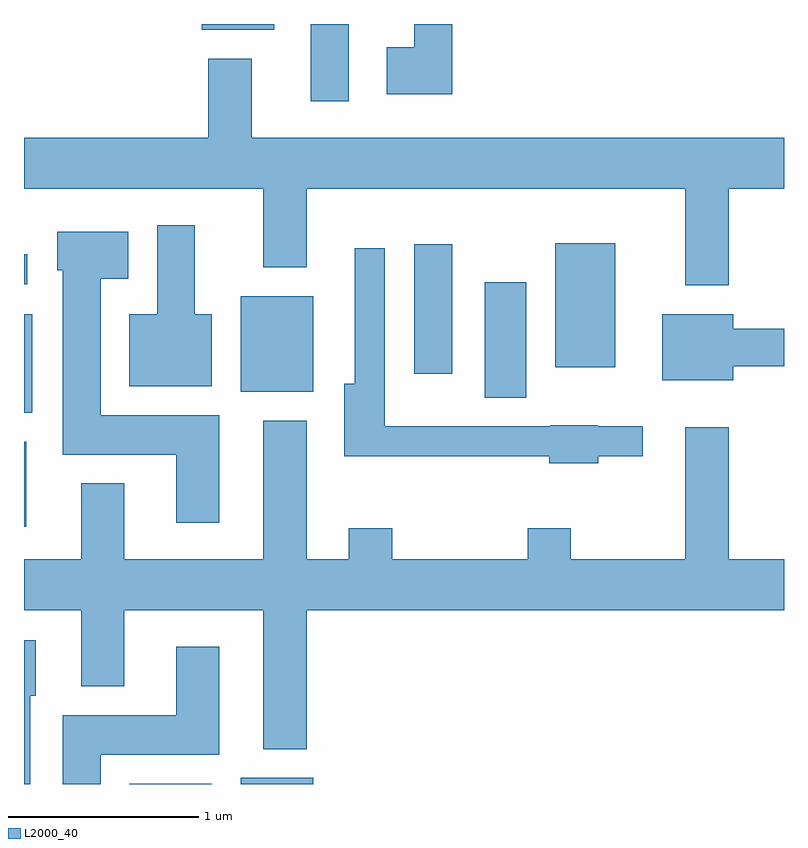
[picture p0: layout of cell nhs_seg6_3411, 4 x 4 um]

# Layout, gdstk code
import gdstk
lib = gdstk.Library(unit=1e-6, precision=1e-09)
def R(c, l, rs):  # rectangles x0, y0, x1, y1
    for r in rs: c.add(gdstk.rectangle(r[:2], r[2:], *l))
def P(c, l, *ps):  # polygons
    for p in ps: c.add(gdstk.Polygon(p, *l))
L2000_40 = (2000, 40)

nhs_seg6_3411 = lib.new_cell('nhs_seg6_3411')
R(nhs_seg6_3411, L2000_40, [(288.166,1620.162,288.599,1620.164), (288.751,1620.162,289.134,1620.194), (287.611,1621.516,287.624,1621.964), (287.611,1622.116,287.654,1622.634), (290.036,1622.196,290.254,1622.804), (288.751,1622.226,289.134,1622.729), (289.666,1622.321,289.864,1623.004), (290.406,1622.356,290.724,1623.009), (287.611,1622.791,287.628,1622.949), (289.121,1623.756,289.319,1624.162), (288.546,1624.131,288.929,1624.162)])
P(nhs_seg6_3411, L2000_40, [(289.864,1624.162),(289.666,1624.162),(289.666,1624.039),(289.521,1624.039),(289.521,1623.791),(289.864,1623.791)],
  [(291.319,1623.296),(291.611,1623.296),(291.611,1623.564),(288.809,1623.564),(288.809,1623.979),(288.581,1623.979),(288.581,1623.564),(287.611,1623.564),(287.611,1623.296),(288.871,1623.296),(288.871,1622.881),(289.099,1622.881),(289.099,1623.296),(291.091,1623.296),(291.091,1622.786),(291.319,1622.786)],
  [(288.599,1622.634),(288.509,1622.634),(288.509,1623.104),(288.311,1623.104),(288.311,1622.634),(288.166,1622.634),(288.166,1622.256),(288.599,1622.256)],
  [(288.639,1622.104),(288.014,1622.104),(288.014,1622.821),(288.159,1622.821),(288.159,1623.069),(287.786,1623.069),(287.786,1622.866),(287.816,1622.866),(287.816,1621.896),(288.411,1621.896),(288.411,1621.536),(288.639,1621.536)],
  [(290.634,1621.886),(290.868,1621.886),(290.868,1622.044),(290.63,1622.044),(290.63,1622.049),(290.38,1622.049),(290.38,1622.044),(289.509,1622.044),(289.509,1622.983),(289.351,1622.983),(289.351,1622.269),(289.296,1622.269),(289.296,1621.886),(290.376,1621.886),(290.376,1621.851),(290.634,1621.851)],
  [(291.344,1622.361),(291.611,1622.361),(291.611,1622.559),(291.344,1622.559),(291.344,1622.634),(290.971,1622.634),(290.971,1622.286),(291.344,1622.286)],
  [(289.099,1621.076),(291.611,1621.076),(291.611,1621.344),(291.319,1621.344),(291.319,1622.039),(291.091,1622.039),(291.091,1621.344),(290.489,1621.344),(290.489,1621.509),(290.261,1621.509),(290.261,1621.344),(289.549,1621.344),(289.549,1621.509),(289.321,1621.509),(289.321,1621.344),(289.099,1621.344),(289.099,1622.074),(288.871,1622.074),(288.871,1621.344),(288.139,1621.344),(288.139,1621.744),(287.911,1621.744),(287.911,1621.344),(287.611,1621.344),(287.611,1621.076),(287.911,1621.076),(287.911,1620.676),(288.139,1620.676),(288.139,1621.076),(288.871,1621.076),(288.871,1620.346),(289.099,1620.346)],
  [(287.644,1620.626),(287.674,1620.626),(287.674,1620.919),(287.611,1620.919),(287.611,1620.162),(287.644,1620.162)],
  [(288.014,1620.316),(288.639,1620.316),(288.639,1620.884),(288.411,1620.884),(288.411,1620.524),(287.816,1620.524),(287.816,1620.162),(288.014,1620.162)])

lib.write_gds('nhs_seg6_3411.gds')
